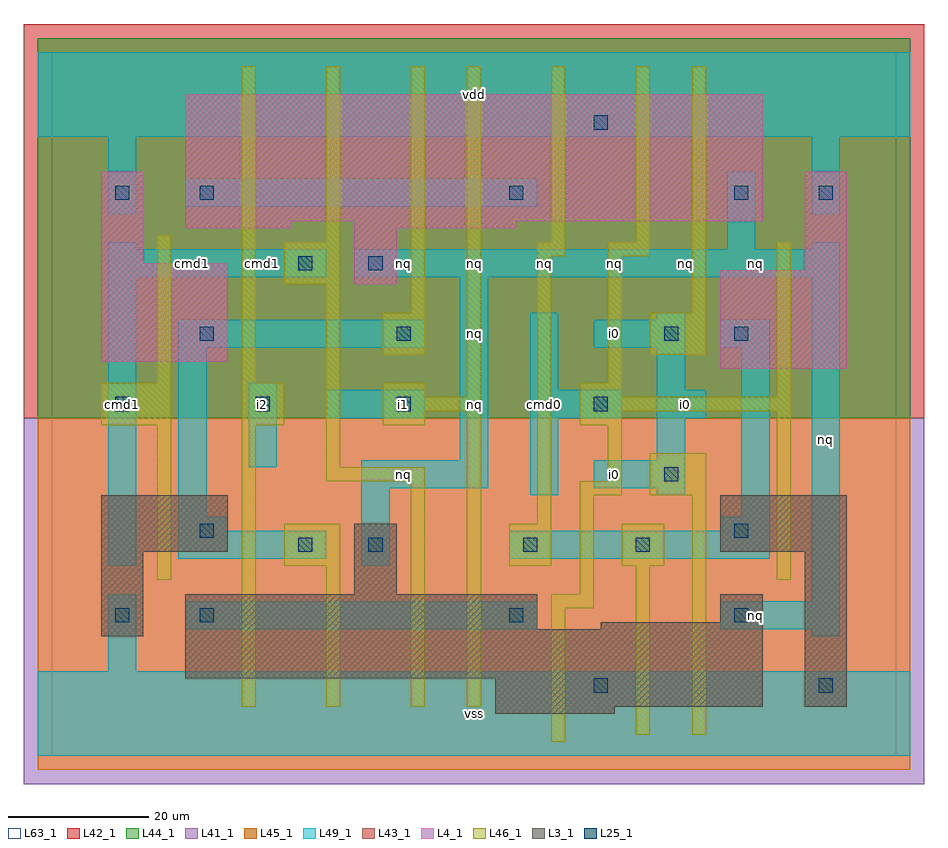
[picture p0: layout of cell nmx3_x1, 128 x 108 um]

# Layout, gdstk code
import gdstk
lib = gdstk.Library(unit=1e-6, precision=1e-09)
def R(c, l, rs):  # rectangles x0, y0, x1, y1
    for r in rs: c.add(gdstk.rectangle(r[:2], r[2:], *l))
def A(c, l, x, y, w, h, nx, ny, dx, dy):  # array of equal rectangles
    R(c, l, [(x+i*dx, y+j*dy, x+i*dx+w, y+j*dy+h) for i in range(nx) for j in range(ny)])
L3_1 = (3, 1)
L4_1 = (4, 1)
L25_1 = (25, 1)
L41_1 = (41, 1)
L42_1 = (42, 1)
L43_1 = (43, 1)
L44_1 = (44, 1)
L45_1 = (45, 1)
L46_1 = (46, 1)
L49_1 = (49, 1)
L63_1 = (63, 1)

nmx3_x1 = lib.new_cell('nmx3_x1')
R(nmx3_x1, L3_1, [(63,6,80,7), (63,7,101,11), (107,7,113,29), (19,11,101,18), (7,17,13,29), (19,18,69,23), (78,18,101,19), (95,19,101,23), (43,23,49,33), (7,29,25,37), (95,29,113,37)])
R(nmx3_x1, L4_1, [(95,55,113,69), (7,56,25,70), (43,67,49,75), (107,69,113,83), (7,70,13,83), (19,75,34,76), (43,75,66,76), (19,76,101,94)])
A(nmx3_x1, L25_1, 77, 9, 2, 2, 1, 3, 0, 40)
A(nmx3_x1, L25_1, 9, 49, 2, 2, 3, 1, 20, 0)
R(nmx3_x1, L25_1, [(109,9,111,11), (9,19,11,21), (21,19,23,21), (65,19,67,21), (97,19,99,21), (35,29,37,31), (45,29,47,31), (67,29,69,31), (83,29,85,31), (21,31,23,33), (97,31,99,33), (87,39,89,41), (21,59,23,61), (49,59,51,61), (87,59,89,61), (97,59,99,61), (35,69,37,71), (45,69,47,71), (9,79,11,81), (21,79,23,81), (65,79,67,81), (97,79,99,81), (109,79,111,81)])
R(nmx3_x1, L41_1, [(-4,-4,124,48)])
R(nmx3_x1, L42_1, [(-4,48,124,104)])
R(nmx3_x1, L43_1, [(63,6,80,7), (63,7,101,11), (107,7,113,29), (19,11,101,18), (7,17,13,29), (19,18,69,23), (78,18,101,19), (95,19,101,23), (43,23,49,33), (7,29,25,37), (95,29,113,37), (95,55,113,69), (7,56,25,70), (43,67,49,75), (107,69,113,83), (7,70,13,83), (19,75,34,76), (43,75,66,76), (19,76,101,94)])
R(nmx3_x1, L44_1, [(-2,48,122,102)])
R(nmx3_x1, L45_1, [(-2,-2,122,48)])
R(nmx3_x1, L46_1, [(71,2,73,21), (83,3,85,27), (91,3,93,37), (27,7,29,47), (39,7,41,27), (51,7,53,39), (59,7,61,49), (71,21,77,23), (75,23,77,37), (15,25,17,47), (103,25,105,49), (33,27,41,33), (65,27,71,33), (81,27,87,33), (69,33,71,71), (75,37,81,39), (85,37,93,43), (39,39,53,41), (79,39,81,47), (39,41,41,67), (7,47,17,53), (27,47,33,53), (47,47,53,49), (75,47,81,49), (47,49,61,51), (75,49,105,51), (47,51,53,53), (59,51,61,98), (75,51,81,53), (103,51,105,73), (15,53,17,74), (27,53,29,98), (79,53,81,71), (47,57,53,63), (85,57,93,63), (51,63,53,98), (91,63,93,98), (33,67,41,73), (69,71,73,73), (79,71,85,73), (39,73,41,98), (71,73,73,98), (83,73,85,98)])
R(nmx3_x1, L49_1, [(-2,0,122,12), (8,12,12,23), (108,17,112,18), (19,18,69,22), (95,18,112,22), (108,22,112,68), (8,27,12,68), (44,27,48,38), (18,28,39,32), (65,28,102,32), (18,32,25,34), (95,32,102,34), (18,34,22,58), (98,34,102,58), (68,37,72,48), (86,37,90,38), (44,38,62,42), (77,38,90,42), (28,41,32,53), (58,42,62,68), (86,42,90,48), (39,48,53,52), (68,48,81,52), (86,48,93,52), (68,52,72,63), (86,52,90,58), (18,58,53,62), (77,58,90,62), (95,58,102,62), (86,62,90,63), (8,68,39,72), (43,68,112,72), (8,72,12,73), (96,72,100,83), (108,72,112,73), (8,77,12,88), (108,77,112,88), (19,78,69,82), (-2,88,122,100)])
R(nmx3_x1, L63_1, [(0,0,120,100)])
nmx3_x1.add(gdstk.Label('cmd1', (10,50), layer=49, texttype=1))
nmx3_x1.add(gdstk.Label('i2', (30,50), layer=49, texttype=1))
nmx3_x1.add(gdstk.Label('cmd1', (20,70), layer=49, texttype=1))
nmx3_x1.add(gdstk.Label('cmd1', (30,70), layer=49, texttype=1))
nmx3_x1.add(gdstk.Label('vss', (60,6), layer=49, texttype=1))
nmx3_x1.add(gdstk.Label('nq', (50,40), layer=49, texttype=1))
nmx3_x1.add(gdstk.Label('i1', (50,50), layer=49, texttype=1))
nmx3_x1.add(gdstk.Label('nq', (60,50), layer=49, texttype=1))
nmx3_x1.add(gdstk.Label('nq', (60,60), layer=49, texttype=1))
nmx3_x1.add(gdstk.Label('nq', (50,70), layer=49, texttype=1))
nmx3_x1.add(gdstk.Label('nq', (60,70), layer=49, texttype=1))
nmx3_x1.add(gdstk.Label('vdd', (60,94), layer=49, texttype=1))
nmx3_x1.add(gdstk.Label('i0', (80,40), layer=49, texttype=1))
nmx3_x1.add(gdstk.Label('cmd0', (70,50), layer=49, texttype=1))
nmx3_x1.add(gdstk.Label('i0', (90,50), layer=49, texttype=1))
nmx3_x1.add(gdstk.Label('i0', (80,60), layer=49, texttype=1))
nmx3_x1.add(gdstk.Label('nq', (70,70), layer=49, texttype=1))
nmx3_x1.add(gdstk.Label('nq', (80,70), layer=49, texttype=1))
nmx3_x1.add(gdstk.Label('nq', (90,70), layer=49, texttype=1))
nmx3_x1.add(gdstk.Label('nq', (100,20), layer=49, texttype=1))
nmx3_x1.add(gdstk.Label('nq', (110,45), layer=49, texttype=1))
nmx3_x1.add(gdstk.Label('nq', (100,70), layer=49, texttype=1))

lib.write_gds('nmx3_x1.gds')
